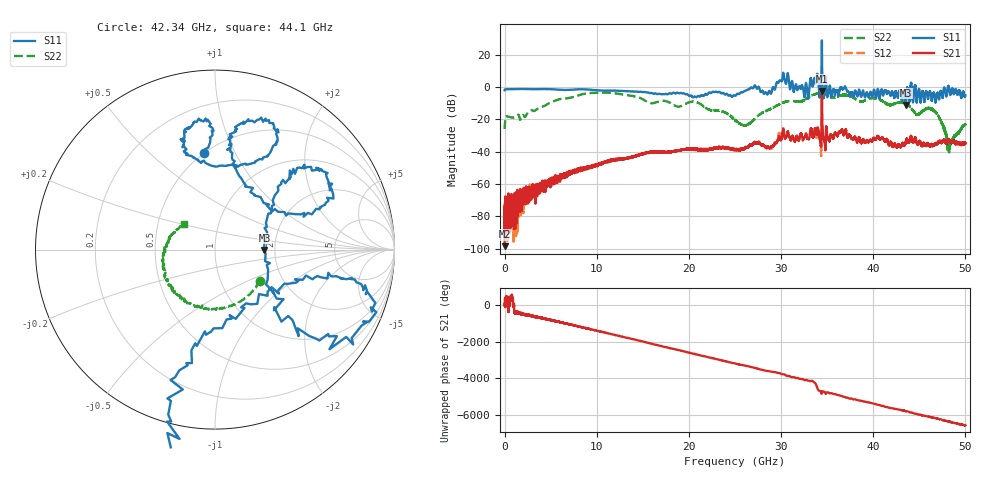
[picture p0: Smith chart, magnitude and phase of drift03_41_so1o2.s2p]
!Created with skrf (http://scikit-rf.org).
# Hz S RI R 50.0
!freq ReS11 ImS11 ReS21 ImS21 ReS12 ImS12 ReS22 ImS22
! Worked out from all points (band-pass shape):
!   10000 points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, 5.3 MHz to 50 GHz, reference 50 ohm
!   highest |S21| = -2.60 dB at 34.43 GHz (marker M1); lowest = -98.5 dB at 5.3 MHz (marker M2)
!   |S21| within 3 dB of the highest: 34.42763 GHz to 34.43521 GHz (7.579 MHz wide, 0.022 % of centre)
!   lowest |S11| = -11.2 dB at 43.52 GHz (marker M3), VSWR 1.76, Z = 88 - j0.525 ohm
!   |S11| at or under -10 dB: 43.48923 GHz to 43.54493 GHz (55.71 MHz wide, 0.128 % of centre)
!   |S22| runs from -40.5 to -3.6 dB; largest |S21 - S12| = 0.22
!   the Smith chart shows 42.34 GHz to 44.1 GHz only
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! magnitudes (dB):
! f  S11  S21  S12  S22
! 5.3 MHz  -2.1  -98.5  -74.7  -26.1
! 320.3 MHz  -1.4  -76.5  -77.9  -18.2
! 2.105 GHz  -1.3  -69.0  -68.7  -17.9
! 8.34 GHz  -1.5  -51.1  -51.7  -4.7
! 16.67 GHz  -4.4  -40.1  -40.3  -9.1
! 20.75 GHz  -6.3  -38.3  -38.3  -9.3
! 25.01 GHz  -5.5  -38.6  -38.9  -20.6
! 26.23 GHz  -2.2  -37.3  -37.6  -23.7
! 27.38 GHz  -1.1  -34.9  -35.0  -18.4
! 28.72 GHz  -2.5  -37.8  -37.6  -14.0
! 30.14 GHz  4.5  -29.2  -29.6  -9.9
! 32.74 GHz  2.0  -29.6  -29.2  -7.4
! 33.34 GHz  2.5  -27.5  -27.7  -5.3
! 33.82 GHz  4.0  -29.1  -29.5  -4.3
! 34.43 GHz  28.7  -2.6  -4.7  -4.0
! 36.49 GHz  -0.3  -28.0  -27.8  -5.3
! 41.67 GHz  -3.0  -35.4  -35.6  -11.0
! 43.52 GHz  -11.2  -34.1  -34.4  -10.3
! 44.74 GHz  -9.2  -34.4  -34.7  -17.3
! 46.64 GHz  -4.7  -35.5  -35.7  -15.2
! 48.25 GHz  -1.5  -33.2  -33.5  -37.9
! 50 GHz  -5.3  -35.1  -34.7  -23.3
